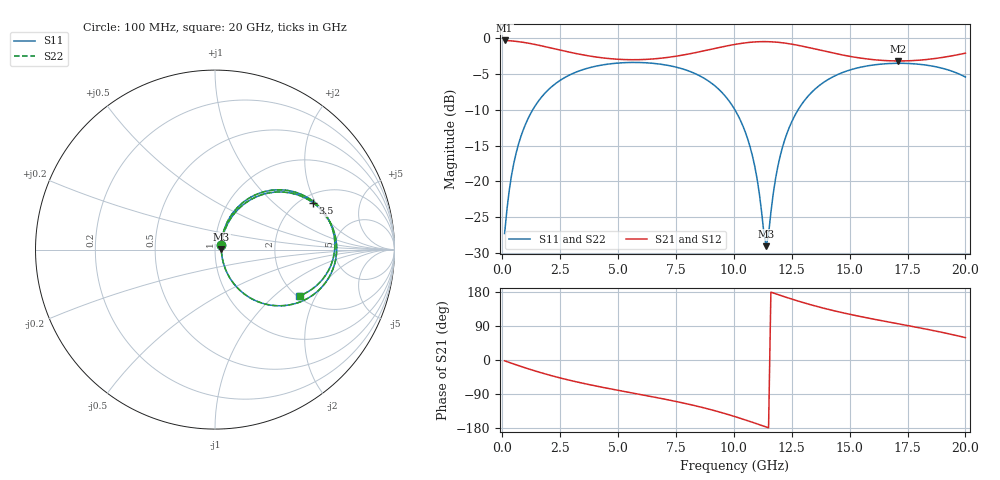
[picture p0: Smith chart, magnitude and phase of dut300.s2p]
! Touchstone file exported from HFSS 2026.1.0
!  File:  C:/ffzhzh/LocalFiles/Ansys_Project_Files/temp_train_TSV_RDL_300_1783027857_51716.aedt
!  Generated:  05:49:36 AM Jul  3, 2026
!  Design:  TSV_RDL
!  Project:  temp_train_TSV_RDL_300_1783027857_51716
! Variables:
!  h_bsmrdl = 4.8um
!  h_ox = 20um
!  h_rdl = 5um
!  h_sub = 75.73um
!  h_tmrdl = 2.74um
!  h_tsv = 75.73um
!  h_via = 3um
!  l_bsmrdl = 736.3um
!  l_sub = 5295.97um
!  l_tmrdl = 649.11um
!  m_sub = 200um
!  pitch = 59.06um
!  r_tsv = 7.67um
!  s_tmrdl = 10um
!  w_bsmrdl = 15.95um
!  w_sub = 500um
!  w_tmrdl = 14.26um
!  x_tsv_center1 = 656.24um
!  x_tsv_center2 = 1408.49um
!  x_tsv_center3 = 2071.86um
!  x_tsv_center4 = 2824.11um
!  x_tsv_center5 = 3487.48um
!  x_tsv_center6 = 4239.73um
# GHz S MA R 50.000000
! Terminal data exported
! Port[1] = TM_RDL1_1_T1
! Port[2] = TM_RDL5_1_T1
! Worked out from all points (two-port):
!   200 points, 100 MHz to 20 GHz, reference 50 ohm
!   highest |S21| = -0.30 dB at 100 MHz (marker M1); lowest = -3.2 dB at 17.1 GHz (marker M2)
!   |S21| within 3 dB of the highest: start of sweep to end of sweep
!   lowest |S11| = -29.0 dB at 11.4 GHz (marker M3), VSWR 1.07, Z = 53.7 + j0.0942 ohm
!   |S11| at or under -10 dB: start of sweep to 1.313 GHz; 10.05 GHz to 12.77 GHz (2.728 GHz wide, 23.9 % of centre)
!   |S22| runs from -29.0 to -3.4 dB; largest |S21 - S12| = 1.9e-14
!   S11 on the Smith chart (normalised r, x): 100 MHz: 1.07, +0.05; 3.5 GHz: 2.31, +1.91; 20 GHz: 2.06, -1.49
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0.1  0.04331 36.1  0.9656 -2.2  0.9656 -2.2  0.04331 36.1
! Gamma 0 0 0 0
! Port Impedance 50 0 50 0
0.3  0.08668 59.6  0.9618 -6.5  0.9618 -6.5  0.08668 59.6
0.5  0.1347 63.7  0.9555 -10.7  0.9555 -10.7  0.1347 63.7
1.1  0.2721 59.3  0.9258 -22.8  0.9258 -22.8  0.2721 59.3
2.1  0.4542 44.6  0.8559 -40.9  0.8559 -40.9  0.4542 44.6
3.5  0.6054 25.5  0.7649 -61.7  0.7649 -61.7  0.6054 25.5
5.1  0.6733 7.1  0.7122 -81.1  0.7122 -81.1  0.6733 7.1
6.8  0.6604 -11.5  0.7243 -100.7  0.7243 -100.7  0.6604 -11.5
8.7  0.5277 -35.3  0.8165 -126.2  0.8165 -126.2  0.5278 -35.3
10.1  0.3056 -55.9  0.9095 -150.3  0.9095 -150.3  0.3056 -55.9
10.8  0.1516 -62.6  0.9405 -164.3  0.9405 -164.3  0.1517 -62.6
11  0.1052 -60.5  0.9451 -168.5  0.9451 -168.5  0.1053 -60.5
11.4  0.03534 1.4  0.9476 -176.8  0.9476 -176.8  0.03536 1.4
11.8  0.1045 63.9  0.9408 174.9  0.9408 174.9  0.1045 63.9
12.1  0.1732 65.9  0.9302 168.7  0.9302 168.7  0.1732 65.9
12.6  0.2816 60.9  0.9039 158.9  0.9039 158.9  0.2816 60.9
13.4  0.4255 49.4  0.8496 144.5  0.8496 144.5  0.4255 49.4
15.1  0.6065 26.8  0.7433 119.3  0.7433 119.3  0.6065 26.8
16.7  0.6661 8.8  0.6968 100.1  0.6968 100.1  0.666 8.8
17.1  0.6689 4.6  0.6945 95.5  0.6945 95.5  0.6688 4.6
18.6  0.6382 -11.7  0.7192 77.9  0.7192 77.9  0.6381 -11.7
20  0.5365 -28.7  0.7868 59.0  0.7868 59.0  0.5365 -28.6
